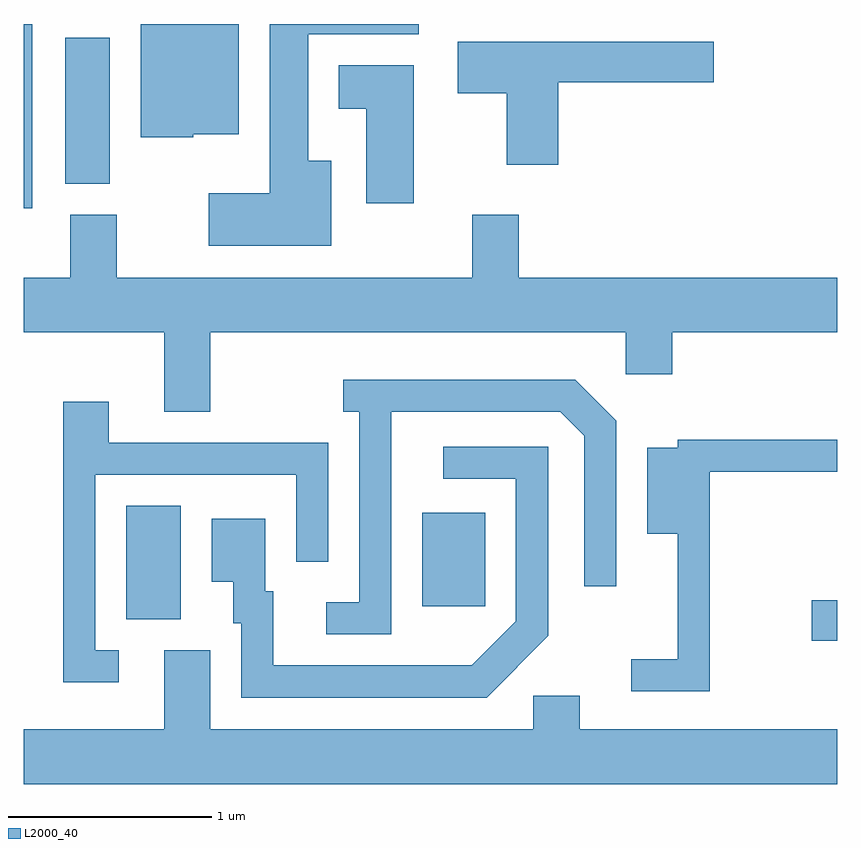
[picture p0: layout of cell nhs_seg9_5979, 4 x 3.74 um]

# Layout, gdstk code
import gdstk
lib = gdstk.Library(unit=1e-6, precision=1e-09)
def R(c, l, rs):  # rectangles x0, y0, x1, y1
    for r in rs: c.add(gdstk.rectangle(r[:2], r[2:], *l))
def P(c, l, *ps):  # polygons
    for p in ps: c.add(gdstk.Polygon(p, *l))
L2000_40 = (2000, 40)

nhs_seg9_5979 = lib.new_cell('nhs_seg9_5979')
R(nhs_seg9_5979, L2000_40, [(365.486,2001.401,365.611,2001.599), (362.116,2001.506,362.384,2002.064), (363.571,2001.571,363.879,2002.029), (361.611,2003.526,361.654,2004.432), (361.816,2003.646,362.034,2004.364)])
P(nhs_seg9_5979, L2000_40, [(362.445,2003.891),(362.669,2003.891),(362.669,2004.432),(362.186,2004.432),(362.186,2003.876),(362.445,2003.876)],
  [(363.124,2003.759),(363.009,2003.759),(363.009,2004.381),(363.554,2004.381),(363.554,2004.432),(362.821,2004.432),(362.821,2003.599),(362.521,2003.599),(362.521,2003.341),(363.124,2003.341)],
  [(364.239,2004.146),(365.004,2004.146),(365.004,2004.344),(363.746,2004.344),(363.746,2004.091),(363.986,2004.091),(363.986,2003.741),(364.239,2003.741)],
  [(363.529,2004.229),(363.161,2004.229),(363.161,2004.016),(363.296,2004.016),(363.296,2003.551),(363.529,2003.551)],
  [(362.529,2002.916),(364.571,2002.916),(364.571,2002.711),(364.799,2002.711),(364.799,2002.916),(365.611,2002.916),(365.611,2003.184),(364.044,2003.184),(364.044,2003.494),(363.816,2003.494),(363.816,2003.184),(362.069,2003.184),(362.069,2003.494),(361.841,2003.494),(361.841,2003.184),(361.611,2003.184),(361.611,2002.916),(362.301,2002.916),(362.301,2002.526),(362.529,2002.526)],
  [(363.419,2002.526),(364.249,2002.526),(364.366,2002.409),(364.366,2001.668),(364.524,2001.668),(364.524,2002.482),(364.322,2002.684),(363.183,2002.684),(363.183,2002.526),(363.261,2002.526),(363.261,2001.589),(363.098,2001.589),(363.098,2001.431),(363.419,2001.431)],
  [(362.078,2001.354),(361.964,2001.354),(361.964,2002.216),(362.951,2002.216),(362.951,2001.788),(363.109,2001.788),(363.109,2002.374),(362.029,2002.374),(362.029,2002.574),(361.806,2002.574),(361.806,2001.196),(362.078,2001.196)],
  [(364.984,2002.231),(365.611,2002.231),(365.611,2002.389),(364.826,2002.389),(364.826,2002.349),(364.676,2002.349),(364.676,2001.926),(364.826,2001.926),(364.826,2001.309),(364.598,2001.309),(364.598,2001.151),(364.984,2001.151)],
  [(364.189,2001.424),(364.189,2002.354),(363.673,2002.354),(363.673,2002.196),(364.031,2002.196),(364.031,2001.497),(363.814,2001.279),(362.839,2001.279),(362.839,2001.644),(362.799,2001.644),(362.799,2001.999),(362.536,2001.999),(362.536,2001.691),(362.641,2001.691),(362.641,2001.486),(362.681,2001.486),(362.681,2001.121),(363.887,2001.121)],
  [(365.611,2000.964),(364.344,2000.964),(364.344,2001.129),(364.116,2001.129),(364.116,2000.964),(362.529,2000.964),(362.529,2001.354),(362.301,2001.354),(362.301,2000.964),(361.611,2000.964),(361.611,2000.696),(365.611,2000.696)])

lib.write_gds('nhs_seg9_5979.gds')
